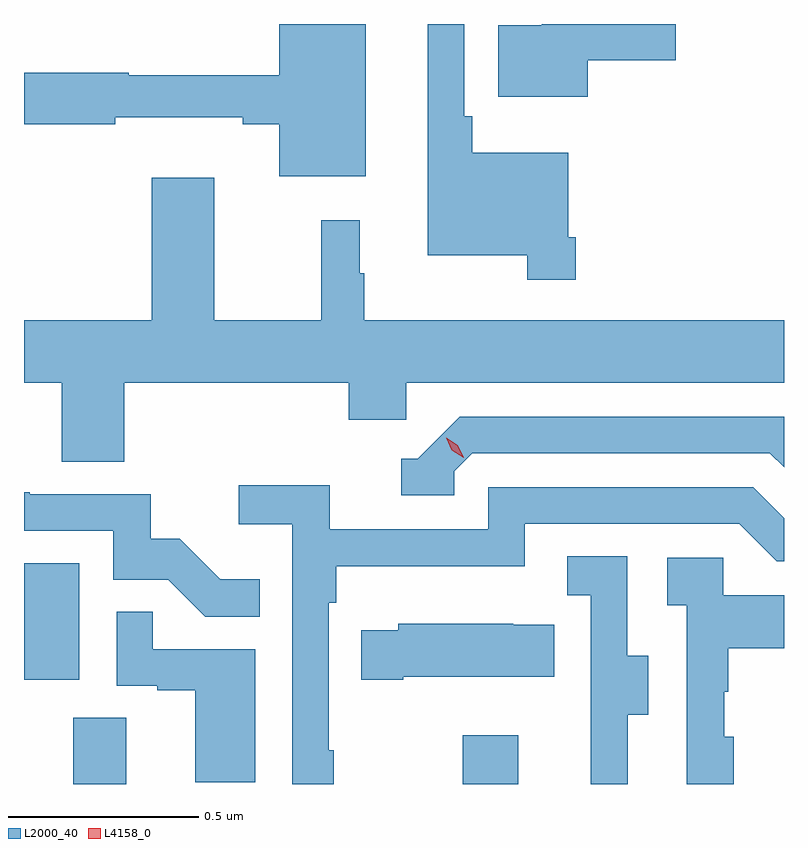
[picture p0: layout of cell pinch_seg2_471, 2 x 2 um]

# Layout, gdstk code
import gdstk
lib = gdstk.Library(unit=1e-6, precision=1e-09)
def R(c, l, rs):  # rectangles x0, y0, x1, y1
    for r in rs: c.add(gdstk.rectangle(r[:2], r[2:], *l))
def P(c, l, *ps):  # polygons
    for p in ps: c.add(gdstk.Polygon(p, *l))
L2000_40 = (2000, 40)
L4158_0 = (4158, 0)

pinch_seg2_471 = lib.new_cell('pinch_seg2_471')
R(pinch_seg2_471, L2000_40, [(908.057,587.972,908.197,588.146), (909.082,587.972,909.229,588.1), (907.928,588.246,908.074,588.553)])
P(pinch_seg2_471, L2000_40, [(909.412,589.877),(909.643,589.877),(909.643,589.972),(909.29,589.972),(909.29,589.969),(909.176,589.969),(909.176,589.781),(909.412,589.781)],
  [(908.827,589.972),(908.6,589.972),(908.6,589.837),(908.204,589.837),(908.204,589.844),(907.928,589.844),(907.928,589.708),(908.168,589.708),(908.168,589.727),(908.504,589.727),(908.504,589.708),(908.6,589.708),(908.6,589.571),(908.827,589.571)],
  [(909.38,589.411),(909.36,589.411),(909.36,589.633),(909.107,589.633),(909.107,589.729),(909.087,589.729),(909.087,589.972),(908.99,589.972),(908.99,589.364),(909.252,589.364),(909.252,589.299),(909.38,589.299)],
  [(908.192,589.028),(908.783,589.028),(908.783,588.93),(908.934,588.93),(908.934,589.028),(909.928,589.028),(909.928,589.192),(908.824,589.192),(908.824,589.316),(908.812,589.316),(908.812,589.456),(908.71,589.456),(908.71,589.192),(908.428,589.192),(908.428,589.567),(908.264,589.567),(908.264,589.192),(907.928,589.192),(907.928,589.028),(908.027,589.028),(908.027,588.82),(908.192,588.82)],
  [(909.06,588.795),(909.108,588.843),(909.891,588.843),(909.928,588.806),(909.928,588.939),(909.075,588.939),(908.964,588.828),(908.921,588.828),(908.921,588.732),(909.06,588.732)],
  [(908.743,588.061),(908.73,588.061),(908.73,588.449),(908.75,588.449),(908.75,588.545),(909.246,588.545),(909.246,588.657),(909.81,588.657),(909.909,588.558),(909.928,588.558),(909.928,588.672),(909.847,588.753),(909.15,588.753),(909.15,588.642),(908.732,588.642),(908.732,588.758),(908.493,588.758),(908.493,588.656),(908.634,588.656),(908.634,587.972),(908.743,587.972)],
  [(908.549,588.511),(908.445,588.511),(908.338,588.618),(908.262,588.618),(908.262,588.735),(907.943,588.735),(907.943,588.74),(907.928,588.74),(907.928,588.639),(908.163,588.639),(908.163,588.51),(908.307,588.51),(908.405,588.412),(908.549,588.412)],
  [(909.517,588.154),(909.571,588.154),(909.571,588.309),(909.516,588.309),(909.516,588.572),(909.357,588.572),(909.357,588.469),(909.42,588.469),(909.42,588.165),(909.419,588.165),(909.419,587.972),(909.517,587.972)],
  [(909.796,588.096),(909.771,588.096),(909.771,588.215),(909.781,588.215),(909.781,588.329),(909.928,588.329),(909.928,588.469),(909.768,588.469),(909.768,588.567),(909.621,588.567),(909.621,588.443),(909.672,588.443),(909.672,587.972),(909.796,587.972)],
  [(908.536,588.327),(908.267,588.327),(908.267,588.425),(908.172,588.425),(908.172,588.231),(908.279,588.231),(908.279,588.219),(908.378,588.219),(908.378,587.976),(908.536,587.976)],
  [(908.926,588.254),(909.323,588.254),(909.323,588.391),(909.215,588.391),(909.215,588.394),(908.913,588.394),(908.913,588.376),(908.815,588.376),(908.815,588.247),(908.926,588.247)])
P(pinch_seg2_471, L4158_0, [(909.085,588.83),(909.054,588.85),(909.039,588.883),(909.039,588.883),(909.039,588.883),(909.069,588.863),(909.085,588.83),(909.085,588.83)])

lib.write_gds('pinch_seg2_471.gds')
